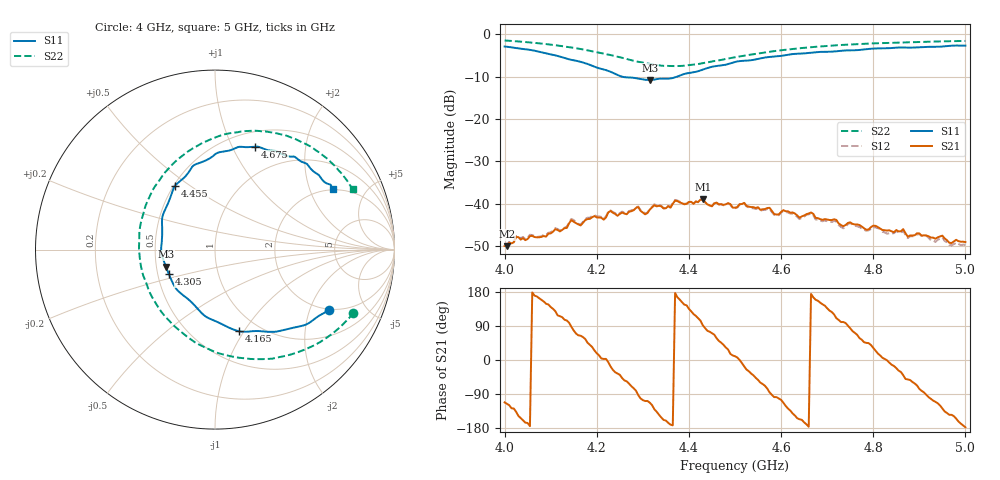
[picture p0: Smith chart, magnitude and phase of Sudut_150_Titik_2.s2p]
# Hz S RI R 50
! CMT, C1220, 16058040, 17.2.0/1
! Date: 15/08/2018 11:41:58
! Data: Format (Calibration Info)
! Freq  S11: Re/Im (F2)  S21: Re/Im (F2)  S12: Re/Im (F2)  S22: Re/Im (F2)
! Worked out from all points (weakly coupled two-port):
!   201 points, 4 GHz to 5 GHz, reference 50 ohm
!   highest |S21| = -39.03 dB at 4.43 GHz (marker M1); lowest = -50.1 dB at 4.005 GHz (marker M2)
!   lowest |S11| = -10.8 dB at 4.315 GHz (marker M3), VSWR 1.81, Z = 28.1 - j5.84 ohm
!   |S11| at or under -10 dB: 4.255 GHz to 4.374 GHz (119.1 MHz wide, 2.76 % of centre)
!   |S22| runs from -7.5 to -1.4 dB; largest |S21 - S12| = 0.00039
!   S11 on the Smith chart (normalised r, x): 4 GHz: 1.97, -2.74; 4.165 GHz: 0.81, -0.95; 4.305 GHz: 0.57, -0.17; 4.455 GHz: 0.51, +0.44; 4.675 GHz: 0.67, +1.23; 5 GHz: 1.98, +2.90
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4e9  0.6362 -0.3361  -0.00117 -0.00292  -0.00113 -0.00304  0.7712 -0.3525
4.005e9  0.6273 -0.3424  -0.00135 -0.00283  -0.0013 -0.00296  0.7626 -0.3639
4.025e9  0.5829 -0.3666  -0.00293 -0.00275  -0.00291 -0.00291  0.7232 -0.4065
4.12e9  0.2979 -0.4582  -0.00203 0.00423  -0.00215 0.00431  0.4542 -0.5746
4.145e9  0.2085 -0.4545  0.000282 0.00636  9.8e-05 0.00659  0.3608 -0.5984
4.165e9  0.1331 -0.455  0.00242 0.00495  0.00242 0.00512  0.2819 -0.6097
4.17e9  0.1172 -0.4504  0.0029 0.00515  0.00292 0.00531  0.2613 -0.6104
4.23e9  -0.0745 -0.3537  0.0078 -0.00243  0.00794 -0.00239  -0.00184 -0.5696
4.245e9  -0.1126 -0.3119  0.00582 -0.00418  0.00598 -0.00425  -0.065 -0.5408
4.29e9  -0.2348 -0.187  -0.000425 -0.00909  -0.000397 -0.00922  -0.245 -0.4067
4.305e9  -0.2576 -0.1354  -0.00235 -0.00708  -0.00246 -0.00725  -0.2944 -0.3524
4.315e9  -0.2732 -0.0952  -0.00325 -0.00783  -0.00333 -0.0079  -0.3239 -0.309
4.335e9  -0.2976 -0.0277  -0.00765 -0.00547  -0.00785 -0.00555  -0.3725 -0.217
4.43e9  -0.2482 0.292  -0.000361 0.0112  -0.00021 0.0111  -0.3869 0.2445
4.455e9  -0.2233 0.3548  0.00395 0.00925  0.00407 0.00921  -0.3392 0.3452
4.5e9  -0.1326 0.4526  0.00881 0.00154  0.0087 0.00147  -0.2238 0.4877
4.52e9  -0.1027 0.4774  0.00974 -0.00298  0.0096 -0.00309  -0.1668 0.5344
4.59e9  0.0524 0.5464  -0.00102 -0.00735  -0.00104 -0.00718  0.0402 0.6378
4.67e9  0.2161 0.5724  -0.0073 0.00193  -0.00697 0.00196  0.2596 0.659
4.675e9  0.224 0.5735  -0.00632 0.00244  -0.00603 0.00238  0.272 0.6591
4.835e9  0.4826 0.4895  0.00479 -0.000596  0.00444 -0.000482  0.5873 0.5356
5e9  0.6555 0.3356  -0.0035 -0.000154  -0.00325 -0.000266  0.7664 0.3369
